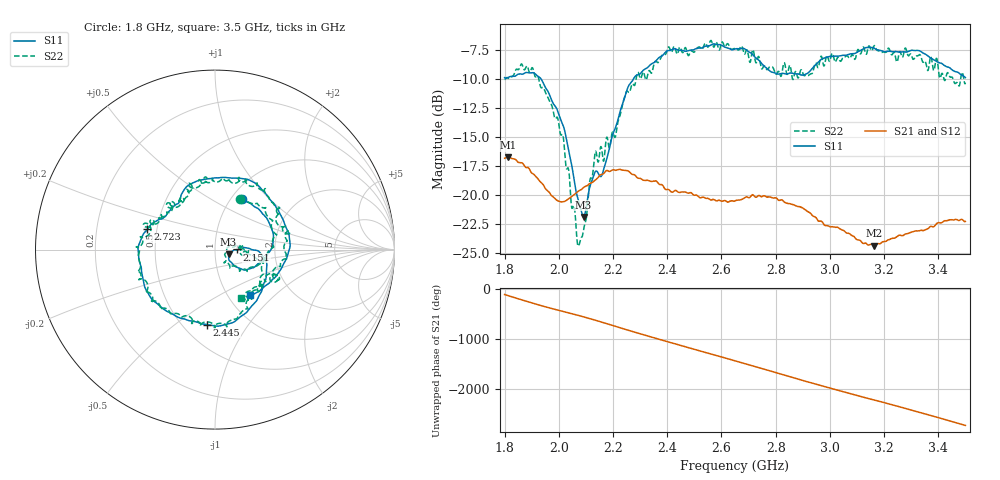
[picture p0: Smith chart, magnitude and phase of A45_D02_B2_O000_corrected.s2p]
! Created with skrf 1.9.0 (http://scikit-rf.org).
# Hz S RI R 50.0
!freq ReS11 ImS11 ReS21 ImS21 ReS12 ImS12 ReS22 ImS22
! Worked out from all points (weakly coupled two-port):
!   1601 points, 1.8 GHz to 3.5 GHz, reference 50 ohm
!   highest |S21| = -16.76 dB at 1.812 GHz (marker M1); lowest = -24.4 dB at 3.164 GHz (marker M2)
!   lowest |S11| = -21.9 dB at 2.091 GHz (marker M3), VSWR 1.17, Z = 58.1 - j3.08 ohm
!   |S11| at or under -10 dB: 1.935 GHz to 2.275 GHz (340.9 MHz wide, 16.2 % of centre)
!   |S22| runs from -24.4 to -6.7 dB; largest |S21 - S12| = 0.0025
!   S11 on the Smith chart (normalised r, x): 1.8 GHz: 1.12, +0.71; 2.151 GHz: 1.28, +0.00; 2.445 GHz: 0.65, -0.66; 2.723 GHz: 0.44, +0.12; 3.5 GHz: 1.26, -0.71
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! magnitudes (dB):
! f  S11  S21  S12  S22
! 1.8 GHz  -9.9  -16.8  -16.8  -10.0
! 1.812 GHz  -9.9  -16.8  -16.8  -9.9
! 1.902 GHz  -9.5  -18.1  -18.1  -9.0
! 1.967 GHz  -11.4  -19.8  -19.9  -12.0
! 2.02 GHz  -14.3  -20.6  -20.6  -15.8
! 2.07 GHz  -20.3  -19.7  -19.7  -24.4
! 2.084 GHz  -21.5  -19.5  -19.5  -23.7
! 2.091 GHz  -21.9  -19.4  -19.4  -23.1
! 2.13 GHz  -18.2  -18.8  -18.8  -16.9
! 2.151 GHz  -18.4  -18.3  -18.4  -16.4
! 2.209 GHz  -14.2  -17.9  -17.8  -15.0
! 2.258 GHz  -10.6  -18.0  -18.0  -11.2
! 2.367 GHz  -8.2  -19.0  -19.0  -8.6
! 2.445 GHz  -7.5  -19.8  -19.8  -7.3
! 2.65 GHz  -7.4  -20.5  -20.5  -7.3
! 2.723 GHz  -8.1  -20.2  -20.1  -8.3
! 2.806 GHz  -9.6  -20.3  -20.4  -9.5
! 2.934 GHz  -9.1  -21.7  -21.7  -9.5
! 3.164 GHz  -7.4  -24.4  -24.3  -7.1
! 3.217 GHz  -7.6  -23.9  -23.8  -7.4
! 3.33 GHz  -7.6  -23.1  -23.1  -7.9
! 3.5 GHz  -9.9  -22.3  -22.3  -10.3
